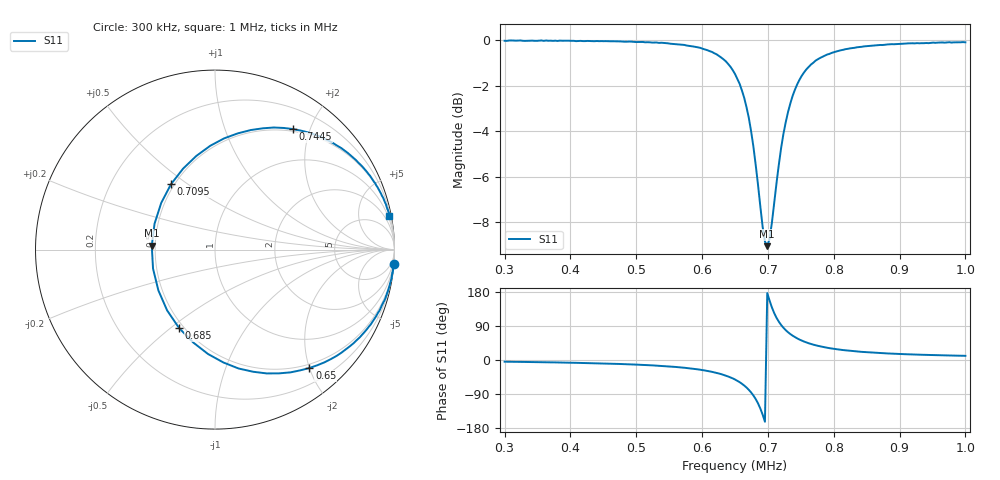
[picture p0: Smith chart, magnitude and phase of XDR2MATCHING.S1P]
!Agilent Technologies,E5071C,MY46100305,A.07.02
!Date: Fri Jan 01 00:19:23 1988
!Data & Calibration Information:
!Freq	S11:SOLT1(ON)
# Hz S MA R 50
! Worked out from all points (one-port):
!   201 points, 300 kHz to 1 MHz, reference 50 ohm
!   lowest |S11| = -9.0 dB at 699 kHz (marker M1), VSWR 2.09, Z = 23.9 + j1.15 ohm
!   |S11| at or under -10 dB: nowhere
!   S11 on the Smith chart (normalised r, x): 300 kHz: 1, -25; 650 kHz: 0.44, -2.00; 685 kHz: 0.47, -0.54; 709.5 kHz: 0.48, +0.43; 744.5 kHz: 0.47, +1.75; 1 MHz: 1, +10
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300000  0.9979 -4.5
387500  0.9981 -6.7
475000  0.9947 -10.5
562500  0.98 -18.7
594000  0.9651 -24.8
615000  0.9432 -31.2
636000  0.8996 -41.2
650000  0.8435 -51.4
660500  0.7761 -62.7
671000  0.6753 -78.8
678000  0.5833 -93.8
685000  0.4809 -114.6
692000  0.389 -144.1
699000  0.3529 176.6
702500  0.3664 156.8
709500  0.4391 124.0
716500  0.532 101.3
723500  0.6222 85.2
730500  0.6953 73.3
737500  0.7548 64.3
744500  0.8006 57.0
758500  0.8638 46.3
772500  0.9028 38.8
797000  0.9387 30.3
825000  0.9605 24.2
867000  0.9754 18.7
912500  0.9848 15.1
1000000  0.9901 11.0
